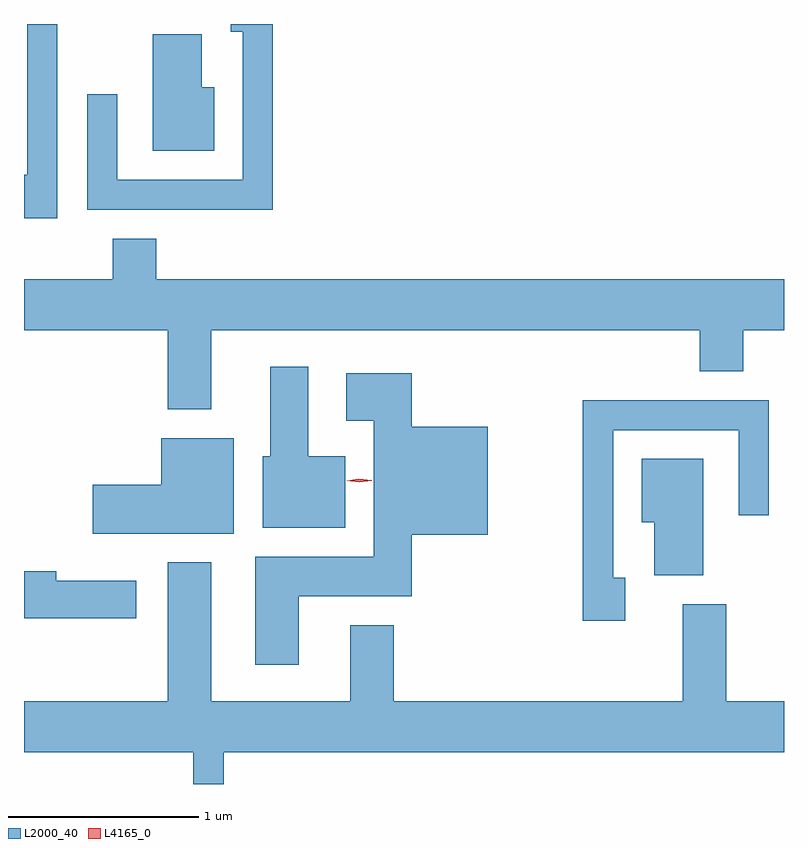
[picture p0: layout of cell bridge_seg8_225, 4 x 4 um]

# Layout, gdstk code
import gdstk
lib = gdstk.Library(unit=1e-6, precision=1e-09)
def P(c, l, *ps):  # polygons
    for p in ps: c.add(gdstk.Polygon(p, *l))
L2000_40 = (2000, 40)
L4165_0 = (4165, 0)

bridge_seg8_225 = lib.new_cell('bridge_seg8_225')
P(bridge_seg8_225, L2000_40, [(1048.349,1909.068),(1048.191,1909.068),(1048.191,1908.274),(1048.174,1908.274),(1048.174,1908.046),(1048.349,1908.046)],
  [(1049.484,1909.068),(1049.261,1909.068),(1049.261,1909.026),(1049.326,1909.026),(1049.326,1908.249),(1048.664,1908.249),(1048.664,1908.698),(1048.506,1908.698),(1048.506,1908.091),(1049.484,1908.091)],
  [(1049.174,1908.734),(1049.109,1908.734),(1049.109,1909.014),(1048.851,1909.014),(1048.851,1908.401),(1049.174,1908.401)],
  [(1049.159,1907.456),(1051.731,1907.456),(1051.731,1907.241),(1051.959,1907.241),(1051.959,1907.456),(1052.174,1907.456),(1052.174,1907.724),(1048.869,1907.724),(1048.869,1907.939),(1048.641,1907.939),(1048.641,1907.724),(1048.174,1907.724),(1048.174,1907.456),(1048.931,1907.456),(1048.931,1907.041),(1049.159,1907.041)],
  [(1049.864,1906.794),(1049.669,1906.794),(1049.669,1907.264),(1049.471,1907.264),(1049.471,1906.794),(1049.431,1906.794),(1049.431,1906.416),(1049.864,1906.416)],
  [(1049.619,1906.056),(1050.214,1906.056),(1050.214,1906.381),(1050.614,1906.381),(1050.614,1906.949),(1050.214,1906.949),(1050.214,1907.229),(1049.871,1907.229),(1049.871,1906.981),(1050.016,1906.981),(1050.016,1906.264),(1049.391,1906.264),(1049.391,1905.696),(1049.619,1905.696)],
  [(1051.339,1906.154),(1051.274,1906.154),(1051.274,1906.931),(1051.936,1906.931),(1051.936,1906.483),(1052.094,1906.483),(1052.094,1907.089),(1051.116,1907.089),(1051.116,1905.926),(1051.339,1905.926)],
  [(1049.279,1906.889),(1048.896,1906.889),(1048.896,1906.644),(1048.536,1906.644),(1048.536,1906.386),(1049.279,1906.386)],
  [(1051.749,1906.779),(1051.426,1906.779),(1051.426,1906.446),(1051.491,1906.446),(1051.491,1906.166),(1051.749,1906.166)],
  [(1049.224,1905.236),(1052.174,1905.236),(1052.174,1905.504),(1051.869,1905.504),(1051.869,1906.014),(1051.641,1906.014),(1051.641,1905.504),(1050.119,1905.504),(1050.119,1905.904),(1049.891,1905.904),(1049.891,1905.504),(1049.159,1905.504),(1049.159,1906.234),(1048.931,1906.234),(1048.931,1905.504),(1048.174,1905.504),(1048.174,1905.236),(1049.066,1905.236),(1049.066,1905.068),(1049.224,1905.068)],
  [(1048.764,1906.139),(1048.344,1906.139),(1048.344,1906.189),(1048.174,1906.189),(1048.174,1905.941),(1048.764,1905.941)])
P(bridge_seg8_225, L4165_0, [(1049.938,1906.655),(1049.872,1906.664),(1049.871,1906.664),(1049.872,1906.664),(1049.937,1906.675),(1050.004,1906.666),(1050.004,1906.666),(1050.004,1906.665)])

lib.write_gds('bridge_seg8_225.gds')
